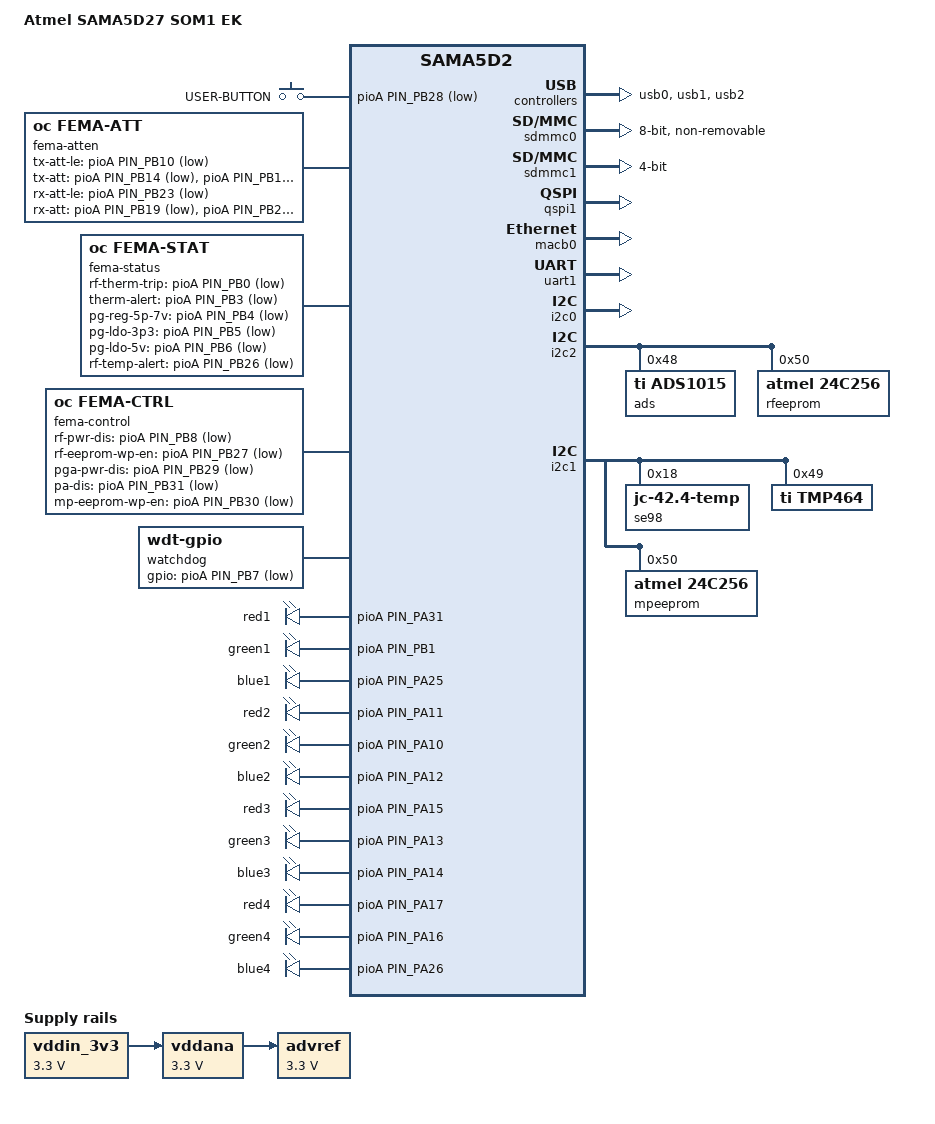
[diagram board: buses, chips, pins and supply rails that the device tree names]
// SPDX-License-Identifier: (GPL-2.0+ OR MIT)
/*
 * at91-sama5d27_som1_ek.dts - Device Tree file for SAMA5D27-SOM1-EK board
 *
 *  Copyright (c) 2017, Microchip Technology Inc.
 *                2016 Nicolas Ferre <nicolas.ferre@atmel.com>
 *                2017 Cristian Birsan <cristian.birsan@microchip.com>
 *                2017 Claudiu Beznea <claudiu.beznea@microchip.com>
 */
/dts-v1/;
#include "at91-sama5d27_som1.dtsi"
#include <dt-bindings/mfd/atmel-flexcom.h>
#include <dt-bindings/gpio/gpio.h>

/ {
	model = "Atmel SAMA5D27 SOM1 EK";
	compatible = "atmel,sama5d27-som1-ek", "atmel,sama5d27-som1", "atmel,sama5d27", "atmel,sama5d2", "atmel,sama5";

	aliases {
		serial0 = &uart1;	/* DBGU */
		i2c0	= &i2c0;
		i2c1	= &i2c1;
		i2c2	= &i2c2;
	};

	chosen {
		stdout-path = "serial0:115200n8";
	};

	ahb {
		usb0: gadget@300000 {
			atmel,vbus-gpio = <&pioA PIN_PD20 GPIO_ACTIVE_HIGH>;
			pinctrl-names = "default";
			pinctrl-0 = <&pinctrl_usba_vbus>;
			status = "okay";
		};

		usb1: ohci@400000 {
			num-ports = <3>;
			atmel,vbus-gpio = <0 /* &pioA PIN_PD20 GPIO_ACTIVE_HIGH */
					   &pioA PIN_PA27 GPIO_ACTIVE_HIGH
					   0
					  >;
			pinctrl-names = "default";
			pinctrl-0 = <&pinctrl_usb_default>;
			status = "okay";
		};

		usb2: ehci@500000 {
			status = "okay";
		};

		sdmmc0: sdio-host@a0000000 {
			bus-width = <8>;
			pinctrl-names = "default";
			pinctrl-0 = <&pinctrl_sdmmc0_default>;
			non-removable;
			status = "okay";
		};

		sdmmc1: sdio-host@b0000000 {
			bus-width = <4>;
			pinctrl-names = "default";
			pinctrl-0 = <&pinctrl_sdmmc1_default>;
			status = "okay";
		};

		apb {

			qspi1: spi@f0024000 {
				status = "okay";
			};

			macb0: ethernet@f8008000 {
				status = "okay";
			};

			tcb0: timer@f800c000 {
				timer0: timer@0 {
					compatible = "atmel,tcb-timer";
					reg = <0>;
				};

				timer1: timer@1 {
					compatible = "atmel,tcb-timer";
					reg = <1>;
				};
			};

			uart1: serial@f8020000 {
				pinctrl-names = "default";
				pinctrl-0 = <&pinctrl_uart1_default>;
				atmel,use-dma-rx;
				atmel,use-dma-tx;
				status = "okay";
			};

			i2c0: i2c@f8028000 {
				dmas = <0>, <0>;
				pinctrl-names = "default";
				pinctrl-0 = <&pinctrl_i2c0_default>;
				status = "okay";
			};


			flx1: flexcom@f8038000 {
				atmel,flexcom-mode = <ATMEL_FLEXCOM_MODE_TWI>;
				status = "okay";

				i2c2: i2c2@600 {
					compatible = "atmel,sama5d2-i2c";
					reg = <0x600 0x200>;
					interrupts = <20 IRQ_TYPE_LEVEL_HIGH 7>;
					dmas = <0>, <0>;
					dma-names = "tx", "rx";
					#address-cells = <1>;
					#size-cells = <0>;
					clocks = <&pmc PMC_TYPE_PERIPHERAL 20>;
					pinctrl-names = "default";
					pinctrl-0 = <&pinctrl_i2c2_default>;
					atmel,fifo-size = <16>;
					status = "okay";
					
					ads: ads1015@48 {
						compatible = "ti,ads1015";
						reg = <0x48>;
						#address-cells = <1>;
	    					#size-cells = <0>;
						/* ti,gain = <3>;
						   ti,datarate = <5> */
					};

					rfeeprom: rfcat24@50 {
						compatible = "atmel,24c256";
						reg = <0x50>;
					};
				};
			};

			shdwc@f8048010 {
				atmel,shdwc-debouncer = <976>;
				atmel,wakeup-rtc-timer;

				input@0 {
					reg = <0>;
					atmel,wakeup-type = "low";
				};
			};

			watchdog@f8048040 {
				status = "okay";
			};

			i2c1: i2c@fc028000 {
				dmas = <0>, <0>;
				pinctrl-names = "default";
				pinctrl-0 = <&pinctrl_i2c1_default>;
				status = "okay";
				
				se98: se98@18 {
					compatible = "jedec,jc-42.4-temp";
					reg = <0x18>;
				};
					
				tmp464: tmp464@49 {
					compatible = "ti,tmp464";
					reg = <0x49>;
				};
				
				mpeeprom: mpcat24@50 {
                                	compatible = "atmel,24c256";
                                        reg = <0x50>;
                                };
				
					
			};

			adc: adc@fc030000 {
				vddana-supply = <&vddana>;
				vref-supply = <&advref>;

				status = "disabled";
			};

			pinctrl@fc038000 {

				pinctrl_i2c0_default: i2c0_default {
					pinmux = <PIN_PD21__TWD0>,
						 <PIN_PD22__TWCK0>;
					bias-disable;
				};

				pinctrl_i2c1_default: i2c1_default {
					pinmux = <PIN_PD4__TWD1>,
						 <PIN_PD5__TWCK1>;
					bias-disable;
				};

				pinctrl_fema_led1_default: oc_fema_led1_default {
					 pinmux = <PIN_PA31__GPIO>,
						  <PIN_PB1__GPIO>,
						  <PIN_PA25__GPIO>;
					 bias-pull-up;
				};
		
				pinctrl_fema_led2_default: oc_fema_led2_default {
					 pinmux = <PIN_PA11__GPIO>,
						  <PIN_PA10__GPIO>,
						  <PIN_PA12__GPIO>;
					 bias-pull-up;
				};
				
				
				pinctrl_fema_led3_default: oc_fema_led3_default {
					 pinmux = <PIN_PA15__GPIO>,
						  <PIN_PA13__GPIO>,
						  <PIN_PA14__GPIO>;
					 bias-pull-up;
				};

				pinctrl_fema_led4_default: oc_fema_led4_default {
					 pinmux = <PIN_PA17__GPIO>,
						  <PIN_PA16__GPIO>,
						  <PIN_PA26__GPIO>;
					 bias-pull-up;
				};
				
				pinctrl_oc_fema_tx_atten_default: oc_fema_tx_atten_default {
					pinmux = <PIN_PB10__GPIO>,
						 <PIN_PB11__GPIO>,
						 <PIN_PB12__GPIO>,
						 <PIN_PB13__GPIO>,
						 <PIN_PB14__GPIO>,
						 <PIN_PB15__GPIO>,
						 <PIN_PB16__GPIO>;
                                        bias-pull-up;
				};
				
				pinctrl_oc_fema_rx_atten_default: oc_fema_rx_atten_default {
					pinmux = <PIN_PB17__GPIO>,
						 <PIN_PB18__GPIO>,
						 <PIN_PB19__GPIO>,
						 <PIN_PB20__GPIO>,
						 <PIN_PB21__GPIO>,
						 <PIN_PB22__GPIO>,
						 <PIN_PB23__GPIO>;
                                        bias-pull-up;
				};
				
				pinctrl_oc_fema_ctrl_default: oc_fema_ctrl_default {
					pinmux = <PIN_PB7__GPIO>,
						 <PIN_PB8__GPIO>,
						 <PIN_PB27__GPIO>,
						 <PIN_PB29__GPIO>,
						 <PIN_PB30__GPIO>,
						 <PIN_PB31__GPIO>;
					bias-pull-up;
				};

				pinctrl_oc_fema_status_default: oc_fema_status_default {
					pinmux = <PIN_PB0__GPIO>,
                                                 <PIN_PB3__GPIO>,
                                                 <PIN_PB4__GPIO>,
                                                 <PIN_PB5__GPIO>,
                                                 <PIN_PB6__GPIO>,
                                                 <PIN_PB26__GPIO>;
                                        bias-pull-up;

				};

				pinctrl_sdmmc0_default: sdmmc0_default {
					cmd_data {
						pinmux = <PIN_PA1__SDMMC0_CMD>,
							 <PIN_PA2__SDMMC0_DAT0>,
							 <PIN_PA3__SDMMC0_DAT1>,
							 <PIN_PA4__SDMMC0_DAT2>,
							 <PIN_PA5__SDMMC0_DAT3>,
							 <PIN_PA6__SDMMC0_DAT4>,
							 <PIN_PA7__SDMMC0_DAT5>,
							 <PIN_PA8__SDMMC0_DAT6>,
							 <PIN_PA9__SDMMC0_DAT7>;
						bias-disable;
					};

					ck_cd_vddsel {
						pinmux = <PIN_PA0__SDMMC0_CK>;
						bias-disable;
					};
				};

				pinctrl_sdmmc1_default: sdmmc1_default {
					cmd_data {
						pinmux = <PIN_PA28__SDMMC1_CMD>,
							 <PIN_PA18__SDMMC1_DAT0>,
							 <PIN_PA19__SDMMC1_DAT1>,
							 <PIN_PA20__SDMMC1_DAT2>,
							 <PIN_PA21__SDMMC1_DAT3>;
						bias-disable;
					};

					conf-ck_cd {
						pinmux = <PIN_PA22__SDMMC1_CK>,
							 <PIN_PA30__SDMMC1_CD>;
						bias-disable;
					};
				};

				pinctrl_uart1_default: uart1_default {
					pinmux = <PIN_PD2__URXD1>,
						 <PIN_PD3__UTXD1>;
					bias-disable;
				};

				pinctrl_usb_default: usb_default {
					pinmux = <PIN_PA27__GPIO>,
						 <PIN_PD19__GPIO>;
					bias-disable;
				};

				pinctrl_usba_vbus: usba_vbus {
					pinmux = <PIN_PD20__GPIO>;
					bias-disable;
				};

				pinctrl_i2c2_default: i2c2_default {
					pinmux = <PIN_PA24__FLEXCOM1_IO0>,
						 <PIN_PA23__FLEXCOM1_IO1>;
					bias-disable;
				};
				
				pinctrl_key_fema_button: fema_button {
					pinmux = <PIN_PB28__GPIO>;
					bias-disable;
				};
			};
			
		};
	};
	
	gpio_keys {
                compatible = "gpio-keys";

                pinctrl-names = "default";
                pinctrl-0 = <&pinctrl_key_fema_button>;

                user-button {
                        label = "USER-BUTTON";
                        gpios = <&pioA PIN_PB28 GPIO_ACTIVE_LOW>;
                        linux,code = <0x100>;
                        wakeup-source;
                };
        };

	fema-atten {
		compatible = "oc,fema-att";
		pinctrl-names = "default";
		pinctrl-0 = <&pinctrl_oc_fema_tx_atten_default>;
		pinctrl-1 = <&pinctrl_oc_fema_tx_atten_default>;
		status = "okay";
		
		tx-att-le-gpio = <&pioA PIN_PB10 GPIO_ACTIVE_LOW>;
		tx-att-le-default = <1>;

		tx-att-gpios = <&pioA PIN_PB14 GPIO_ACTIVE_LOW>,
			   <&pioA PIN_PB11 GPIO_ACTIVE_LOW>,
			   <&pioA PIN_PB12 GPIO_ACTIVE_LOW>,
			   <&pioA PIN_PB13 GPIO_ACTIVE_LOW>,
			   <&pioA PIN_PB15 GPIO_ACTIVE_LOW>,
			   <&pioA PIN_PB16 GPIO_ACTIVE_LOW>;
		tx-att-default = <31>;

		rx-att-le-gpio = <&pioA PIN_PB23 GPIO_ACTIVE_LOW>;
		rx-att-le-default = <1>;
		
		rx-att-gpios = <&pioA PIN_PB19 GPIO_ACTIVE_LOW>,
			       <&pioA PIN_PB22 GPIO_ACTIVE_LOW>,
			       <&pioA PIN_PB21 GPIO_ACTIVE_LOW>,
			       <&pioA PIN_PB20 GPIO_ACTIVE_LOW>,
			       <&pioA PIN_PB18 GPIO_ACTIVE_LOW>,
			       <&pioA PIN_PB17 GPIO_ACTIVE_LOW>;
		rx-att-default = <31>;

	};
	
	fema-status {
		compatible = "oc,fema-stat";
		pinctrl-names = "default";
		pinctrl-0 = <&pinctrl_oc_fema_status_default>;
		status = "okay"; 
		
		rf-therm-trip-gpio = <&pioA PIN_PB0 GPIO_ACTIVE_LOW>;

		therm-alert-gpio = <&pioA PIN_PB3 GPIO_ACTIVE_LOW>;
		
		pg-reg-5p-7v-gpio = <&pioA PIN_PB4 GPIO_ACTIVE_LOW>;
		
		pg-ldo-3p3-gpio = <&pioA PIN_PB5 GPIO_ACTIVE_LOW>;
		
		pg-ldo-5v-gpio = <&pioA PIN_PB6 GPIO_ACTIVE_LOW>;
		
		rf-temp-alert-gpio = <&pioA PIN_PB26 GPIO_ACTIVE_LOW>;
			
	};
	
	fema-control {
		compatible = "oc,fema-ctrl";
		pinctrl-names = "default";
		pinctrl-0 = <&pinctrl_oc_fema_ctrl_default>;
		status = "okay";


		rf-pwr-dis-gpio = <&pioA PIN_PB8 GPIO_ACTIVE_LOW>;
		rf-pwr-dis-default = <0>;
		
		rf-eeprom-wp-en-gpio = <&pioA PIN_PB27 GPIO_ACTIVE_LOW>;
		rf-eeprom-wp-en-default = <1>;

		pga-pwr-dis-gpio = <&pioA PIN_PB29 GPIO_ACTIVE_LOW>;
                pga-pwr-dis-default = <0>;
	
		pa-dis-gpio = <&pioA PIN_PB31 GPIO_ACTIVE_LOW>;
		pa-dis-default = <0>;

		mp-eeprom-wp-en-gpio = <&pioA PIN_PB30 GPIO_ACTIVE_LOW>;
		mp-eeprom-wp-en-default = <1>;	
	};	
	
	watchdog {
		compatible = "linux,wdt-gpio";
		gpios = <&pioA PIN_PB7 GPIO_ACTIVE_LOW>;
		hw_algo = "toggle";
		hw_margin_ms = <1120>;		
	};
	
	led1 {
		compatible = "gpio-leds";
		pinctrl-names = "default";
		pinctrl-0 = <&pinctrl_fema_led1_default>;
		status = "okay"; /* Conflict with pwm0. */

		red1 {
			label = "red1";
			gpios = <&pioA PIN_PA31 GPIO_ACTIVE_HIGH>;
		};

		green1 {
			label = "green1";
			gpios = <&pioA PIN_PB1 GPIO_ACTIVE_HIGH>;
		};

		blue1 {
			label = "blue1";
			gpios = <&pioA PIN_PA25 GPIO_ACTIVE_HIGH>;
			linux,default-trigger = "heartbeat";
		};
	};

	led2 {
		compatible = "gpio-leds";
		pinctrl-names = "default";
		pinctrl-0 = <&pinctrl_fema_led2_default>;
		status = "okay"; /* Conflict with pwm0. */

		red2 {
			label = "red2";
			gpios = <&pioA PIN_PA11 GPIO_ACTIVE_HIGH>;
		};

		green2 {
			label = "green2";
			gpios = <&pioA PIN_PA10 GPIO_ACTIVE_HIGH>;
		};

		blue2 {
			label = "blue2";
			gpios = <&pioA PIN_PA12 GPIO_ACTIVE_HIGH>;
			default-state = "on";
			linux,default-trigger = "default-on";
		};
	};

	led3 {
		compatible = "gpio-leds";
		pinctrl-names = "default";
		pinctrl-0 = <&pinctrl_fema_led3_default>;
		status = "okay"; /* Conflict with pwm0. */

		red3 {
			label = "red3";
			gpios = <&pioA PIN_PA15 GPIO_ACTIVE_HIGH>;
		};

		green3 {
			label = "green3";
			gpios = <&pioA PIN_PA13 GPIO_ACTIVE_HIGH>;
		};

		blue3 {
			label = "blue3";
			gpios = <&pioA PIN_PA14 GPIO_ACTIVE_HIGH>;
			default-state = "on";
			linux,default-trigger = "default-on";
		};
	};

	led4 {
		compatible = "gpio-leds";
		pinctrl-names = "default";
		pinctrl-0 = <&pinctrl_fema_led4_default>;
		status = "okay"; /* Conflict with pwm0. */

		red4 {
			label = "red4";
			gpios = <&pioA PIN_PA17 GPIO_ACTIVE_HIGH>;
		};

		green4 {
			label = "green4";
			gpios = <&pioA PIN_PA16 GPIO_ACTIVE_HIGH>;
		};

		blue4 {
			label = "blue4";
			gpios = <&pioA PIN_PA26 GPIO_ACTIVE_HIGH>;
			default-state = "on";
			linux,default-trigger = "default-on";
		};
	};
	
	vddin_3v3: fixed-regulator-vddin_3v3 {
		compatible = "regulator-fixed";

		regulator-name = "VDDIN_3V3";
		regulator-min-microvolt = <3300000>;
		regulator-max-microvolt = <3300000>;
		regulator-always-on;
		regulator-boot-on;
		status = "okay";
	};

	vddana: fixed-regulator-vddana {
		compatible = "regulator-fixed";

		regulator-name = "VDDANA";
		regulator-min-microvolt = <3300000>;
		regulator-max-microvolt = <3300000>;
		regulator-always-on;
		regulator-boot-on;
		vin-supply = <&vddin_3v3>;
		status = "okay";
	};

	advref: fixed-regulator-advref {
		compatible = "regulator-fixed";

		regulator-name = "advref";
		regulator-min-microvolt = <3300000>;
		regulator-max-microvolt = <3300000>;
		regulator-always-on;
		regulator-boot-on;
		vin-supply = <&vddana>;
		status = "okay";
	};
};
